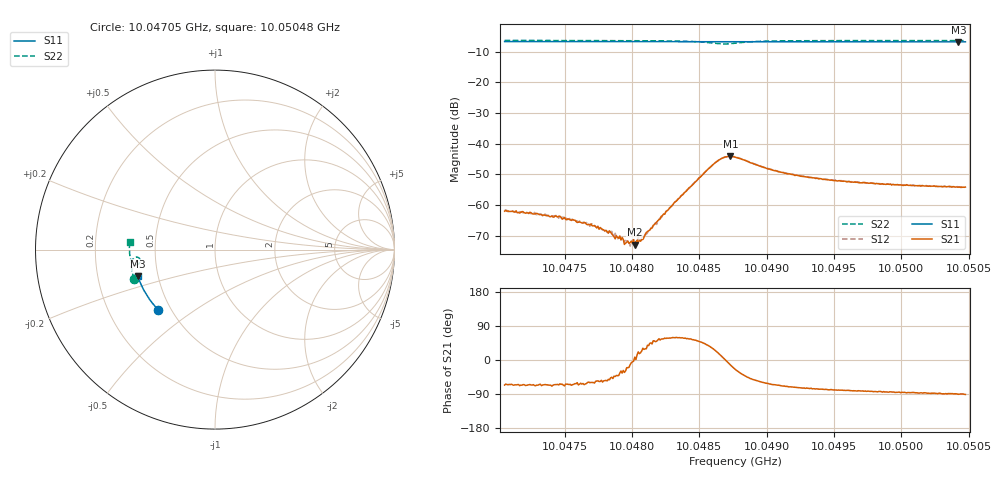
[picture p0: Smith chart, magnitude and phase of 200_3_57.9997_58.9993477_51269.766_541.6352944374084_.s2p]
#  HZ  S  RI  R  50.00
! Rohde & Schwarz Vector Network Analyzer
! Rohde-Schwarz,ZNB20-2Port,1311601062101988,3.16
! Created: UTC 3/21/2024, 12:59:13 AM
! freq[Hz]  re:S11  im:S11  re:S21  im:S21  re:S12  im:S12  re:S22  im:S22
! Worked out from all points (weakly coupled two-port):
!   401 points, 10.04705 GHz to 10.05048 GHz, reference 50 ohm
!   highest |S21| = -44.20 dB at 10.04873 GHz (marker M1); lowest = -73.0 dB at 10.04802 GHz (marker M2)
!   lowest |S11| = -6.9 dB at 10.05042 GHz (marker M3), VSWR 2.67, Z = 19.2 - j7.15 ohm
!   |S11| at or under -10 dB: nowhere
!   |S22| runs from -7.5 to -6.4 dB; largest |S21 - S12| = 0.00042
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1.0047055e10  -0.3153 -0.3356  0.000319 -0.000722  0.000409 -0.00072  -0.4502 -0.1646
1.0047448e10  -0.3332 -0.3166  0.000275 -0.00057  0.000293 -0.000553  -0.4581 -0.1383
1.0047628e10  -0.341 -0.3077  0.000225 -0.000455  0.000274 -0.000451  -0.461 -0.1258
1.0047824e10  -0.3492 -0.2974  0.000217 -0.000269  0.000237 -0.000285  -0.4638 -0.1114
1.0047884e10  -0.3516 -0.2944  0.000238 -0.000205  0.000238 -0.000187  -0.4643 -0.107
1.0047918e10  -0.3532 -0.2926  0.000235 -0.00013  0.000229 -0.000159  -0.4647 -0.1042
1.0047961e10  -0.3549 -0.2903  0.00023 -8.48e-05  0.000237 -9.74e-05  -0.4651 -0.1008
1.0048004e10  -0.3566 -0.2881  0.000232 -1.95e-05  0.000264 -2.53e-06  -0.4655 -0.0974
1.0048021e10  -0.3573 -0.2873  0.000222 2.87e-05  0.000229 2.16e-05  -0.4658 -0.096
1.0048081e10  -0.3598 -0.284  0.000234 0.000141  0.000263 0.00016  -0.4661 -0.091
1.0048115e10  -0.361 -0.2823  0.000285 0.000231  0.000259 0.000237  -0.4662 -0.088
1.0048201e10  -0.3643 -0.2777  0.000321 0.000478  0.000313 0.000489  -0.466 -0.0803
1.0048355e10  -0.3703 -0.2694  0.000672 0.00112  0.00063 0.00118  -0.4633 -0.0644
1.0048603e10  -0.3789 -0.2555  0.00395 0.00226  0.00383 0.00248  -0.4319 -0.0424
1.0048671e10  -0.381 -0.2518  0.00572 0.000816  0.00569 0.00117  -0.4174 -0.0544
1.0048731e10  -0.3831 -0.2487  0.00601 -0.00141  0.00612 -0.00105  -0.4182 -0.0725
1.0048765e10  -0.3842 -0.2468  0.00548 -0.00246  0.00569 -0.0021  -0.4249 -0.0795
1.0049099e10  -0.3955 -0.2278  0.00133 -0.00317  0.00151 -0.00311  -0.468 -0.0589
1.0049338e10  -0.4031 -0.2139  0.000664 -0.00269  0.000847 -0.00266  -0.4739 -0.0374
1.0049911e10  -0.4184 -0.1795  0.000218 -0.00214  0.000333 -0.00216  -0.4766 0.00589
1.0050424e10  -0.4297 -0.1477  -1.89e-05 -0.00195  0.000133 -0.00196  -0.4746 0.0416
1.0050475e10  -0.4309 -0.1443  -3.08e-05 -0.00195  8.41e-05 -0.00194  -0.4745 0.045
